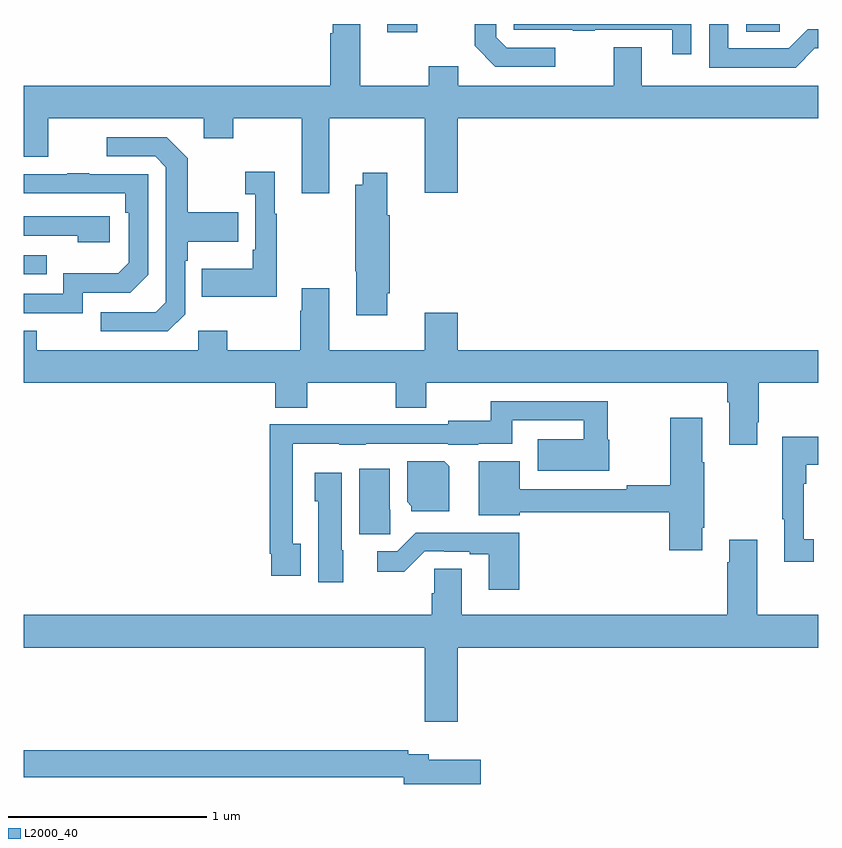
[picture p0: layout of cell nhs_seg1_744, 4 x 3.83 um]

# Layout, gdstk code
import gdstk
lib = gdstk.Library(unit=1e-6, precision=1e-09)
def R(c, l, rs):  # rectangles x0, y0, x1, y1
    for r in rs: c.add(gdstk.rectangle(r[:2], r[2:], *l))
def P(c, l, *ps):  # polygons
    for p in ps: c.add(gdstk.Polygon(p, *l))
L2000_40 = (2000, 40)

nhs_seg1_744 = lib.new_cell('nhs_seg1_744')
R(nhs_seg1_744, L2000_40, [(151,558.939,151.115,559.035), (152.831,560.157,152.98,560.199), (154.638,560.161,154.807,560.199)])
P(nhs_seg1_744, L2000_40, [(153.676,560.079),(153.432,560.079),(153.378,560.133),(153.378,560.199),(153.27,560.199),(153.27,560.089),(153.375,559.983),(153.676,559.983)],
  [(152.539,559.724),(153.02,559.724),(153.02,559.35),(153.184,559.35),(153.184,559.724),(155,559.724),(155,559.888),(154.111,559.888),(154.111,560.083),(153.971,560.083),(153.971,559.888),(153.187,559.888),(153.187,559.987),(153.04,559.987),(153.04,559.888),(152.695,559.888),(152.695,560.199),(152.555,560.199),(152.555,560.153),(152.543,560.153),(152.543,559.888),(151,559.888),(151,559.53),(151.123,559.53),(151.123,559.724),(151.907,559.724),(151.907,559.625),(152.055,559.625),(152.055,559.724),(152.399,559.724),(152.399,559.347),(152.539,559.347)],
  [(154.361,560.199),(153.468,560.199),(153.468,560.169),(153.763,560.169),(153.763,560.164),(153.875,560.164),(153.875,560.169),(154.265,560.169),(154.265,560.046),(154.361,560.046)],
  [(154.983,560.076),(155,560.076),(155,560.172),(154.947,560.172),(154.851,560.076),(154.548,560.076),(154.548,560.199),(154.452,560.199),(154.452,559.98),(154.887,559.98)],
  [(151.812,558.738),(151.812,559.007),(151.825,559.007),(151.825,559.103),(152.081,559.103),(152.081,559.251),(151.825,559.251),(151.825,559.523),(151.719,559.629),(151.419,559.629),(151.419,559.533),(151.662,559.533),(151.716,559.479),(151.716,558.798),(151.665,558.747),(151.389,558.747),(151.389,558.651),(151.725,558.651)],
  [(152.275,559.243),(152.263,559.243),(152.263,559.456),(152.115,559.456),(152.115,559.343),(152.166,559.343),(152.166,559.063),(152.154,559.063),(152.154,558.967),(151.897,558.967),(151.897,558.827),(152.275,558.827)],
  [(152.83,558.844),(152.843,558.844),(152.843,559.237),(152.83,559.237),(152.83,559.45),(152.708,559.45),(152.708,559.39),(152.668,559.39),(152.668,558.955),(152.675,558.955),(152.675,558.732),(152.83,558.732)],
  [(151.296,558.846),(151.536,558.846),(151.626,558.936),(151.626,559.443),(151.331,559.443),(151.331,559.448),(151.219,559.448),(151.219,559.443),(151,559.443),(151,559.347),(151.51,559.347),(151.51,559.25),(151.53,559.25),(151.53,558.996),(151.477,558.943),(151.2,558.943),(151.2,558.84),(151,558.84),(151,558.744),(151.296,558.744)],
  [(151.432,559.23),(151,559.23),(151,559.134),(151.271,559.134),(151.271,559.1),(151.432,559.1)],
  [(154.693,558.193),(154.701,558.193),(154.701,558.392),(155,558.392),(155,558.556),(153.184,558.556),(153.184,558.745),(153.02,558.745),(153.02,558.556),(152.539,558.556),(152.539,558.868),(152.399,558.868),(152.399,558.755),(152.392,558.755),(152.392,558.556),(152.025,558.556),(152.025,558.655),(151.878,558.655),(151.878,558.556),(151.065,558.556),(151.065,558.655),(151,558.655),(151,558.392),(152.267,558.392),(152.267,558.268),(152.427,558.268),(152.427,558.392),(152.872,558.392),(152.872,558.268),(153.027,558.268),(153.027,558.392),(154.541,558.392),(154.541,558.296),(154.553,558.296),(154.553,558.081),(154.693,558.081)],
  [(152.395,557.582),(152.355,557.582),(152.355,558.086),(152.589,558.086),(152.589,558.08),(152.721,558.08),(152.721,558.087),(153.138,558.087),(153.138,558.08),(153.288,558.08),(153.288,558.086),(153.459,558.086),(153.459,558.204),(153.819,558.204),(153.819,558.109),(153.588,558.109),(153.588,557.951),(153.948,557.951),(153.948,558.105),(153.94,558.105),(153.94,558.3),(153.351,558.3),(153.351,558.202),(153.138,558.202),(153.138,558.183),(152.721,558.183),(152.721,558.185),(152.489,558.185),(152.489,558.183),(152.239,558.183),(152.239,557.533),(152.247,557.533),(152.247,557.421),(152.395,557.421)],
  [(154.417,557.662),(154.425,557.662),(154.425,557.993),(154.417,557.993),(154.417,558.217),(154.255,558.217),(154.255,557.876),(154.036,557.876),(154.036,557.856),(153.496,557.856),(153.496,557.998),(153.29,557.998),(153.29,557.726),(153.496,557.726),(153.496,557.74),(154.25,557.74),(154.25,557.55),(154.417,557.55)],
  [(154.978,557.606),(154.926,557.606),(154.926,557.885),(154.939,557.885),(154.939,557.981),(155,557.981),(155,558.121),(154.818,558.121),(154.818,557.705),(154.829,557.705),(154.829,557.493),(154.978,557.493)],
  [(153.142,557.972),(153.116,557.998),(152.93,557.998),(152.93,557.794),(152.952,557.772),(152.952,557.747),(153.142,557.747)],
  [(152.846,557.754),(152.842,557.754),(152.842,557.959),(152.69,557.959),(152.69,557.631),(152.846,557.631)],
  [(152.608,557.55),(152.602,557.55),(152.602,557.941),(152.465,557.941),(152.465,557.796),(152.483,557.796),(152.483,557.388),(152.608,557.388)],
  [(153.494,557.638),(152.974,557.638),(152.88,557.544),(152.781,557.544),(152.781,557.442),(152.916,557.442),(153.018,557.544),(153.118,557.544),(153.118,557.541),(153.245,557.541),(153.245,557.529),(153.341,557.529),(153.341,557.352),(153.494,557.352)],
  [(153.184,557.06),(155,557.06),(155,557.224),(154.693,557.224),(154.693,557.602),(154.553,557.602),(154.553,557.489),(154.541,557.489),(154.541,557.224),(153.205,557.224),(153.205,557.456),(153.066,557.456),(153.066,557.334),(153.053,557.334),(153.053,557.224),(151,557.224),(151,557.06),(153.02,557.06),(153.02,556.686),(153.184,556.686)],
  [(153.301,556.495),(153.04,556.495),(153.04,556.524),(152.936,556.524),(152.936,556.544),(151,556.544),(151,556.408),(152.912,556.408),(152.912,556.373),(153.301,556.373)])

lib.write_gds('nhs_seg1_744.gds')
